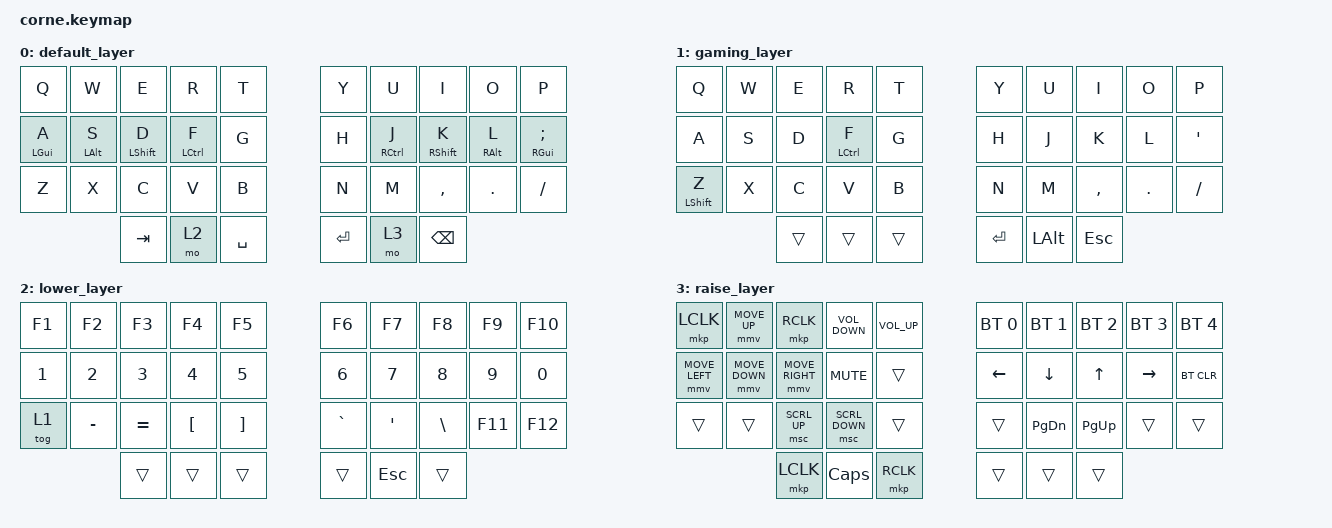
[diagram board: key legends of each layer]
/*
 * Copyright (c) 2020 The ZMK Contributors
 *
 * SPDX-License-Identifier: MIT
 */

#include <behaviors.dtsi>
#include <dt-bindings/zmk/keys.h>
#include <dt-bindings/zmk/bt.h>
#include <dt-bindings/zmk/pointing.h>

/ {
    chosen {
        zmk,physical-layout = &foostan_corne_5col_layout;
    };


    behaviors {
        mt: mod_tap {
            compatible = "zmk,behavior-hold-tap";
            #binding-cells = <2>;
            flavor = "tap-preferred";
            tapping-term-ms = <200>;
            bindings = <&kp>, <&kp>;
            display-name = "Mod-Tap";
        };
    };

        keymap {
                compatible = "zmk,keymap";

                default_layer {
                        bindings = <
&kp Q      &kp W      &kp E        &kp R       &kp T   &kp Y &kp U       &kp I        &kp O      &kp P   
&mt LGUI A &mt LALT S &mt LSHIFT D &mt LCTRL F &kp G   &kp H &mt RCTRL J &mt RSHIFT K &mt RALT L &mt RGUI SEMI
&kp Z      &kp X      &kp C        &kp V       &kp B   &kp N &kp M       &kp COMMA    &kp DOT    &kp FSLH
                             &kp TAB &mo 2 &kp SPACE   &kp RET &mo 3 &kp BACKSPACE
                        >;
                };

                gaming_layer {
                        bindings = <
&kp Q        &kp W &kp E &kp R      &kp T    &kp Y    &kp U    &kp I    &kp O    &kp P
&kp A        &kp S &kp D &mt LCTL F &kp G    &kp H    &kp J    &kp K    &kp L    &kp SQT
&mt LSHIFT Z &kp X &kp C &kp V      &kp B    &kp N    &kp M    &kp COMMA &kp DOT &kp FSLH
                      &trans &trans &trans   &kp RET  &kp LALT &kp ESC
                        >;
                };

                lower_layer {
                        bindings = <
&kp F1       &kp F2       &kp F3       &kp F4       &kp F5         &kp F6    &kp F7   &kp F8   &kp F9  &kp F10
&kp N1       &kp N2       &kp N3       &kp N4       &kp N5         &kp N6    &kp N7   &kp N8   &kp N9  &kp N0
&tog 1       &kp MINUS    &kp EQUAL    &kp LBKT     &kp RBKT       &kp GRAVE &kp APOS &kp BSLH &kp F11 &kp F12
                          &trans       &trans       &trans         &trans    &kp ESC  &trans
                        >;
                };

                raise_layer {
                        bindings = <
&mkp LCLK      &mmv MOVE_UP   &mkp RCLK       &kp C_VOLUME_DOWN &kp C_VOLUME_UP   &bt BT_SEL 0 &bt BT_SEL 1 &bt BT_SEL 2 &bt BT_SEL 3 &bt BT_SEL 4
&mmv MOVE_LEFT &mmv MOVE_DOWN &mmv MOVE_RIGHT &kp C_MUTE        &trans            &kp LEFT     &kp DOWN     &kp UP       &kp RIGHT    &bt BT_CLR
&trans         &trans         &msc SCRL_UP    &msc SCRL_DOWN    &trans            &trans       &kp PG_DN    &kp PG_UP    &trans       &trans
                              &mkp LCLK       &kp CAPS          &mkp RCLK         &trans       &trans       &trans
                        >;
                };

                extra_1 {
                        status = "reserved";
                };

                extra_2 {
                        status = "reserved";
                };

                extra_3 {
                        status = "reserved";
                };
        };
};
